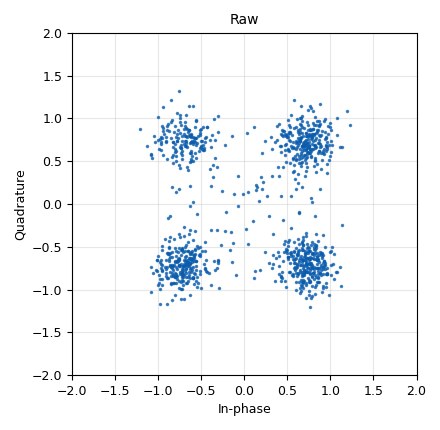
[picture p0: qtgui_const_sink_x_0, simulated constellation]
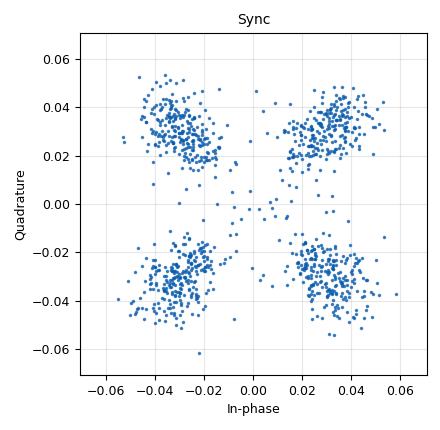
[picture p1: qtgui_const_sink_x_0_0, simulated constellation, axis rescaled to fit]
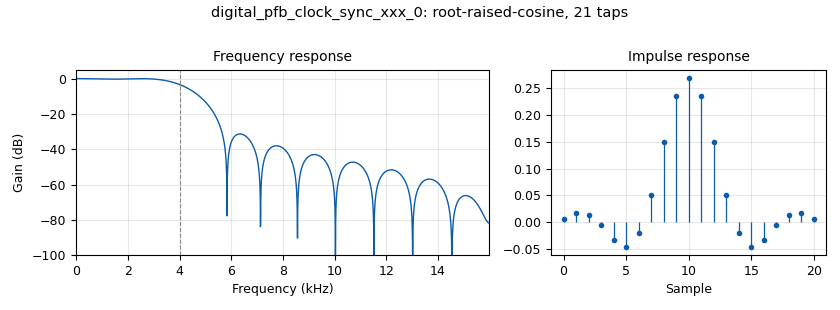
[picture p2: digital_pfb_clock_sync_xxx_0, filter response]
options:
  parameters:
    generate_options: qt_gui
    id: polyphase_clock_sync
    output_language: python
    title: Polyphase Clock Sync
  states: {}

blocks:
- name: constellation
  id: variable_constellation_rect
  parameters:
    const_points: '[(-0.7071067811865475-0.7071067811865475j),(-0.7071067811865475+0.7071067811865475j),(0.7071067811865475+0.7071067811865475j),(0.7071067811865475-0.7071067811865475j)]'
    imag_sect: '2'
    real_sect: '2'
    rot_sym: '4'
    sym_map: '[0, 1, 3, 2]'
    w_imag_sect: '1'
    w_real_sect: '1'
  states: {}
- name: excess_bw
  id: variable
  parameters:
    value: '3.5e-1'
  states: {}
- name: freq_offset
  id: variable_qtgui_range
  parameters:
    orient: Qt.Horizontal
    start: '-1e-1'
    step: '1e-3'
    stop: '1e-1'
    value: '0'
  states: {}
- name: nfilts
  id: variable
  parameters:
    value: '32'
  states: {}
- name: noise_volt
  id: variable_qtgui_range
  parameters:
    orient: Qt.Horizontal
    start: '0'
    step: '1e-2'
    stop: '1'
    value: '2e-1'
  states: {}
- name: rrc_taps
  id: variable
  parameters:
    value: firdes.root_raised_cosine(1.0,samp_rate,samp_rate/sps,excess_bw,5*sps)
  states: {}
- name: samp_rate
  id: variable
  parameters:
    value: '32000'
  states: {}
- name: sps
  id: variable
  parameters:
    value: '4'
  states: {}
- name: time_offset
  id: variable_qtgui_range
  parameters:
    orient: Qt.Horizontal
    start: '0.999'
    step: '1e-4'
    stop: '1.001'
    value: '1.0005'
  states: {}
- name: timing_loop_bw
  id: variable_qtgui_range
  parameters:
    orient: Qt.Horizontal
    start: '0'
    step: '1e-2'
    stop: '300e-3'
    value: '62.8e-3'
  states: {}
- name: analog_random_source_x_0
  id: analog_random_source_x
  parameters:
    max: '4'
    min: '0'
    num_samps: '10000'
    repeat: 'True'
    type: byte
  states: {}
- name: blocks_throttle_0
  id: blocks_throttle
  parameters:
    samples_per_second: samp_rate
    type: complex
  states: {}
- name: channels_channel_model_0
  id: channels_channel_model
  parameters:
    epsilon: time_offset
    freq_offset: freq_offset
    noise_voltage: noise_volt
    seed: '0'
    taps: '1'
  states: {}
- name: digital_constellation_modulator_0
  id: digital_constellation_modulator
  parameters:
    constellation: constellation
    differential: 'True'
    excess_bw: excess_bw
    samples_per_symbol: '2'
  states: {}
- name: digital_pfb_clock_sync_xxx_0
  id: digital_pfb_clock_sync_xxx
  parameters:
    filter_size: nfilts
    init_phase: '16'
    loop_bw: timing_loop_bw
    max_dev: '1.5'
    osps: '1'
    sps: sps
    taps: rrc_taps
    type: ccf
  states: {}
- name: note_0
  id: note
  parameters:
    comment: A constellation is passed through a noisy channel, the polyphase clocksync assigns the noisy points to the most likely constellation point it lies in.
  states: {}
- name: qtgui_const_sink_x_0
  id: qtgui_const_sink_x
  parameters:
    name: Raw
    size: '1024'
    type: complex
    update_time: '0.1'
  states: {}
- name: qtgui_const_sink_x_0_0
  id: qtgui_const_sink_x
  parameters:
    name: Sync
    size: '1024'
    type: complex
    update_time: '0.1'
  states: {}

connections:
- [analog_random_source_x_0, '0', digital_constellation_modulator_0, '0']
- [blocks_throttle_0, '0', channels_channel_model_0, '0']
- [channels_channel_model_0, '0', digital_pfb_clock_sync_xxx_0, '0']
- [channels_channel_model_0, '0', qtgui_const_sink_x_0, '0']
- [digital_constellation_modulator_0, '0', blocks_throttle_0, '0']
- [digital_pfb_clock_sync_xxx_0, '0', qtgui_const_sink_x_0_0, '0']

metadata:
  file_format: 1
